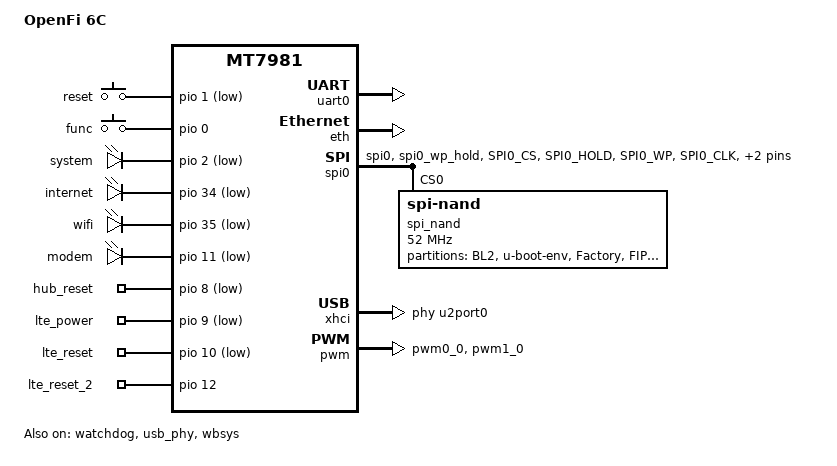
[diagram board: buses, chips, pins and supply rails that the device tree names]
// SPDX-License-Identifier: (GPL-2.0 OR MIT)

/dts-v1/;

#include <dt-bindings/leds/common.h>

#include "mt7981.dtsi"

/ {
	model = "OpenFi 6C";
	compatible = "openfi,6c", "mediatek,mt7981-spim-snand-rfb";

	aliases {
		label-mac-device = &gmac1;
		led-boot = &led_status_blue;
		led-failsafe = &led_status_blue;
		led-running = &led_status_blue;
		led-upgrade = &led_status_blue;
		serial0 = &uart0;
	};

	chosen {
		stdout-path = "serial0:115200n8";
	};

	gpio-keys {
		compatible = "gpio-keys";

		reset {
			label = "reset";
			linux,code = <KEY_RESTART>;
			gpios = <&pio 1 GPIO_ACTIVE_LOW>;
		};

		/*
		 * 物理模式开关。厂商脚本用
		 *   cat /sys/kernel/debug/gpio | grep func | grep hi
		 * 检测它,所以 label 必须是 "func";键值与极性对齐原厂 DTB
		 * (原厂为 ACTIVE_HIGH + 0xab = KEY_CONFIG)。
		 * 原先写作 mode / ACTIVE_LOW / EV_SW,脚本 grep 不到且状态反相。
		 */
		func {
			label = "func";
			linux,code = <KEY_CONFIG>;
			gpios = <&pio 0 GPIO_ACTIVE_HIGH>;
			debounce-interval = <60>;
		};
	};

	leds {
		compatible = "gpio-leds";

		/*
		 * 只用 label 定名(name = label),不写 function/color ——
		 * 三者混用时名字由 function 决定,会变成 "green:status" 之类,
		 * 而厂商脚本(openfi-led / op_led.sh)只认 system/internet/wifi/modem。
		 * default-state 对齐原厂 DTB(前三个 on、modem 灭)。
		 */
		led_status_blue: led_0 {
			label = "system";
			gpios = <&pio 2 GPIO_ACTIVE_LOW>;
			default-state = "on";
		};

		led_1 {
			label = "internet";
			gpios = <&pio 34 GPIO_ACTIVE_LOW>;
			default-state = "on";
		};

		led_2 {
			label = "wifi";
			gpios = <&pio 35 GPIO_ACTIVE_LOW>;
			default-state = "on";
		};

		led_3 {
			label = "modem";
			gpios = <&pio 11 GPIO_ACTIVE_LOW>;
			default-state = "off";
		};
	};

	gpio-export {
		compatible = "gpio-export";

		hub_reset {
			gpio-export,name = "hub_reset";
			gpio-export,output = <0>;
			gpios = <&pio 8 GPIO_ACTIVE_LOW>;
		};

		lte_power {
			gpio-export,name = "lte_power";
			gpio-export,output = <1>;
			gpios = <&pio 9 GPIO_ACTIVE_LOW>;
		};

		lte_reset {
			gpio-export,name = "lte_reset";
			gpio-export,output = <1>;
			gpios = <&pio 10 GPIO_ACTIVE_LOW>;
		};

		lte_reset_2 {
			gpio-export,name = "lte_reset_2";
			gpio-export,output = <0>;
			gpios = <&pio 12 GPIO_ACTIVE_HIGH>;
		};
	};

	fan: pwm-fan {
		compatible = "pwm-fan";
		#cooling-cells = <2>;
		cooling-levels = <0 10 20 30 40 50 60 70 80 90 100 110 120 130 140 150 160 170 180 190 200 210 220 240 255>;
		pwms = <&pwm 0 40000 0>;
		/* 两路 PWM 是反向的，由用户态 op_fan.sh 独占（直接写 pwmchip0/pwm0+pwm1），
		 * pwm-fan 驱动不能抢，否则 op_fan.sh 的 export 会 EBUSY。 */
		status = "disabled";
	};
};

&uart0 {
	status = "okay";
};

&watchdog {
	status = "okay";
};

&eth {
	pinctrl-names = "default";
	pinctrl-0 = <&mdio_pins>;

	status = "okay";

	gmac0: mac@0 {
		compatible = "mediatek,eth-mac";
		reg = <0>;
		phy-mode = "2500base-x";

		fixed-link {
			speed = <2500>;
			full-duplex;
			pause;
		};
	};

	gmac1: mac@1 {
		compatible = "mediatek,eth-mac";
		reg = <1>;
		phy-mode = "gmii";
		phy-handle = <&int_gbe_phy>;
		nvmem-cells = <&macaddr 0>;
		nvmem-cell-names = "mac-address";
	};
};

&spi0 {
		pinctrl-names = "default";
		pinctrl-0 = <&spi0_flash_pins>;
		status = "okay";

		spi_nand: flash@0 {
			#address-cells = <1>;
			#size-cells = <1>;
			compatible = "spi-nand";
			reg = <0>;
			spi-max-frequency = <52000000>;

			spi-cal-enable;
			spi-cal-mode = "read-data";
			spi-cal-datalen = <7>;
			spi-cal-data = /bits/ 8 <0x53 0x50 0x49 0x4E 0x41 0x4E 0x44>;
			spi-cal-addrlen = <5>;
			spi-cal-addr = /bits/ 32 <0x0 0x0 0x0 0x0 0x0>;

			spi-tx-bus-width = <4>;
			spi-rx-bus-width = <4>;
			mediatek,nmbm;
			mediatek,bmt-max-ratio = <1>;
			mediatek,bmt-max-reserved-blocks = <64>;

			partitions {
				compatible = "fixed-partitions";
				#address-cells = <1>;
				#size-cells = <1>;

				partition@0 {
					label = "BL2";
					reg = <0x00000 0x0100000>;
					read-only;
				};

				partition@100000 {
					label = "u-boot-env";
					reg = <0x0100000 0x0080000>;
				};

				factory: partition@180000 {
					label = "Factory";
					reg = <0x180000 0x0200000>;

					/*
					 * macaddr 必须包在 nvmem-layout/fixed-layout 里并声明
					 * mac-base + #nvmem-cell-cells,否则下面 gmac1 的
					 *   nvmem-cells = <&macaddr 0>;
					 * 取不到值,eth1 会退化成随机 MAC。
					 * 偏移 0x4 与原厂 board.d 的
					 *   mtd_get_mac_binary Factory 0x04
					 * 一致,保持不变。
					 *
					 * 与 &wbsys 的 mediatek,mtd-eeprom = <&factory 0> 不冲突:
					 * 同树 mt7622-linksys-e8450 等 8+ 块板子正是这种组合
					 * (Factory 带 nvmem-layout + wmac 用 mediatek,mtd-eeprom)。
					 */
					nvmem-layout {
						compatible = "fixed-layout";
						#address-cells = <1>;
						#size-cells = <1>;

						macaddr: macaddr@0 {
							compatible = "mac-base";
							reg = <0x4 0x6>;
							#nvmem-cell-cells = <1>;
						};
					};
				};

				partition@380000 {
					label = "FIP";
					reg = <0x380000 0x0200000>;
					read-only;
				};

				partition@580000 {
					label = "hw";
					reg = <0x0580000 0x0080000>;
					read-only;
				};

				partition@600000 {
					label = "cfg";
					reg = <0x0600000 0x0080000>;
					read-only;
				};

				partition@680000 {
					label = "ubi";
					reg = <0x680000 0xe980000>;
				};
			};
		};
};

&pio {
	/*
	 * SPI-NAND 是启动介质。除 mux 之外必须补 conf-pu / conf-pd:
	 * CS/HOLD/WP 上拉、CLK/MOSI/MISO 下拉 + 8mA 驱动强度。
	 * 原先只有 mux,丢了驱动能力与上下拉配置 ——
	 * 本树内其余 12+ 块 MT7981 板(abt_asr3000 / qihoo_360t7 / openwrt_one…)
	 * 都有这两组,原厂 DTB 也有(原厂写作 drive-strength=<8>、bias=<0x67>,
	 * 这里采用本树通用符号写法,与同族板子一致)。
	 */
	spi0_flash_pins: spi0-pins {
		mux {
			function = "spi";
			groups = "spi0", "spi0_wp_hold";
		};

		conf-pu {
			pins = "SPI0_CS", "SPI0_HOLD", "SPI0_WP";
			drive-strength = <MTK_DRIVE_8mA>;
			bias-pull-up = <MTK_PUPD_SET_R1R0_11>;
		};

		conf-pd {
			pins = "SPI0_CLK", "SPI0_MOSI", "SPI0_MISO";
			drive-strength = <MTK_DRIVE_8mA>;
			bias-pull-down = <MTK_PUPD_SET_R1R0_11>;
		};
	};


	pwm_pins: pwm-pins {
		mux {
			function = "pwm";
			groups = "pwm0_0", "pwm1_0";
		};
	};
};

&usb_phy {
	status = "okay";
};

&xhci {
	mediatek,u3p-dis-msk = <0x0>;
	phys = <&u2port0 PHY_TYPE_USB2>,
	<&u3port0 PHY_TYPE_USB3>;
	status = "okay";
};

/* 开源 mt76 用的节点：闭源驱动不碰它 */
&wifi {
	status = "disabled";
};

/* 联发科闭源驱动的节点（dtsi 里已定义 reg / interrupts / chip_id） */
&wbsys {
	/* 整块读 Factory，绕开 mt76 那个 4 KiB nvmem cell 的限制 */
	mediatek,mtd-eeprom = <&factory 0>;
	status = "okay";
};

/* HNAT 绑定：本板 WAN 是 USB 模组（usb0），实体口固定为 LAN。
 * dtsi 的默认值是 wan=eth1 / lan=eth0，与实际拓扑相反，必须覆盖。
 * WAN 侧交给 ext-devices-prefix（含 "usb"）自动认，所以写 "/"。 */
&hnat {
	mtketh-lan = "eth1";
	mtketh-ppd = "eth1";
	mtketh-wan = "/";
};

&pwm {
	pinctrl-names = "default";
	pinctrl-0 = <&pwm_pins>;
	status = "okay";
};
